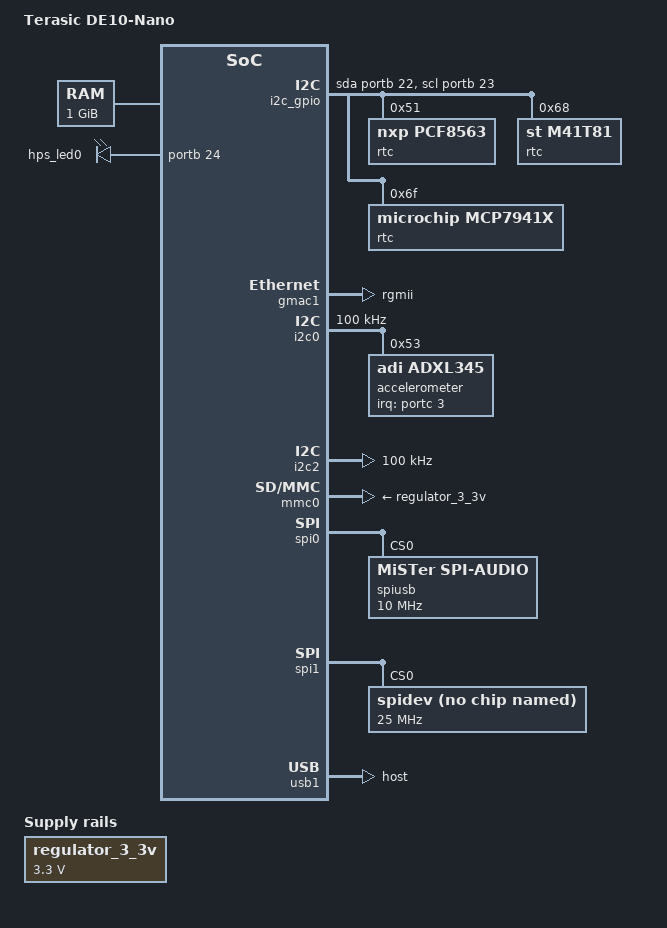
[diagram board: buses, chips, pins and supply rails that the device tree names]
// SPDX-License-Identifier: GPL-2.0+
/*
 * Copyright (C) 2017, Intel Corporation
 *
 * based on socfpga_cyclone5_de0_nano_soc.dts
 *
 * MiSTer additions (2026): the DE10-Nano as used by the MiSTer project.
 * Every value here was diffed against the DTB decompiled from a running stock
 * MiSTer (docs/stock-inventory/stock.dts); the node-by-node comparison and the
 * reason for every divergence live in docs/dts-comparison.md.
 */
/dts-v1/;

#include "socfpga_cyclone5.dtsi"
#include <dt-bindings/interrupt-controller/irq.h>
#include <dt-bindings/gpio/gpio.h>

/ {
	model = "Terasic DE10-Nano";
	compatible = "terasic,de10-nano", "altr,socfpga-cyclone5", "altr,socfpga";

	aliases {
		/*
		 * Load-bearing: U-Boot's fdt_fixup_ethernet() walks /aliases
		 * looking for "ethernetN" and writes $ethaddr into the node it
		 * points at (u-boot common/fdt_support.c:470, called from
		 * image_setup_libfdt() common/image-fdt.c:497).  Without this
		 * alias the MAC address is never injected.
		 */
		ethernet0 = &gmac1;
	};

	chosen {
		/* Overwritten by U-Boot's fdt_chosen() from $bootargs. */
		bootargs = "earlyprintk";
		stdout-path = "serial0:115200n8";
	};

	memory@0 {
		/* 1 GiB */
		device_type = "memory";
		reg = <0x0 0x40000000>;
	};

	soc {
		fpga: bus@ff200000 {
			compatible = "simple-bus";
			reg = <0xff200000 0x00200000>;
			ranges = <0x00000000 0xff200000 0x00200000>;
			#address-cells = <1>;
			#size-cells = <1>;

			/*
			 * Here the devices will appear if an FPGA image is
			 * loaded. Their description is expected to be added
			 * using a device tree overlay that matches the image.
			 */
		};
	};

	regulator_3_3v: 3-3-v-regulator {
		compatible = "regulator-fixed";
		regulator-name = "3.3V";
		regulator-min-microvolt = <3300000>;
		regulator-max-microvolt = <3300000>;
	};

	leds {
		compatible = "gpio-leds";

		/*
		 * ABI: the LED must be named "hps_led0" (the class device name
		 * comes from "label").  Main_MiSTer polls
		 * /sys/class/leds/hps_led0/brightness_hw_changed.
		 */
		hps0 {
			label = "hps_led0";
			gpios = <&portb 24 GPIO_ACTIVE_HIGH>;
			linux,default-trigger = "mmc0";
		};
	};

	/*
	 * Bit-banged I2C for the (optional) MiSTer RTC add-on board.
	 * This is the THIRD and LAST i2c adapter: with i2c0 and i2c2 it gives
	 * exactly three adapters -> /dev/i2c-0, /dev/i2c-1, /dev/i2c-2.
	 * Main_MiSTer never scans past /dev/i2c-2 (smbus.cpp:214), so no
	 * fourth adapter may ever be added here.  See docs/abi-contract.md.
	 */
	i2c_gpio {
		compatible = "i2c-gpio";
		#address-cells = <1>;
		#size-cells = <0>;
		gpios = <&portb 22 (GPIO_ACTIVE_HIGH | GPIO_OPEN_DRAIN)>, /* SDA */
			<&portb 23 (GPIO_ACTIVE_HIGH | GPIO_OPEN_DRAIN)>; /* SCL */
		i2c-gpio,delay-us = <2>;

		/* Only one of these is populated on any given add-on board. */
		rtc@51 {
			compatible = "nxp,pcf8563";
			reg = <0x51>;
		};

		rtc@68 {
			compatible = "st,m41t81";
			reg = <0x68>;
		};

		rtc@6f {
			compatible = "microchip,mcp7941x";
			reg = <0x6f>;
		};
	};

	/*
	 * MiSTer framebuffer: a window into FPGA-side memory.  The driver
	 * (drivers/video/fbdev/MiSTer_fb.c, patch 0001) matches on the
	 * compatible string, not on the node name.  Stock names this node
	 * "MiSTer_fb" with no unit address; we add "@22000000" to silence
	 * dtc's unit_address_vs_reg check.  The platform device is named
	 * "22000000.MiSTer_fb" either way -- of_device_make_bus_id() builds
	 * it from the translated reg plus %pOFn, which strips the unit
	 * address (drivers/of/device.c:298-305).
	 * IRQ 40 is GIC SPI 40 == FPGA-to-HPS interrupt f2h_irq0.
	 */
	MiSTer_fb@22000000 {
		compatible = "MiSTer_fb";
		reg = <0x22000000 0x800000>;
		interrupt-parent = <&intc>;
		interrupts = <0 40 IRQ_TYPE_EDGE_RISING>;
	};
};

&gmac1 {
	/* Uses a KSZ9031RNX phy */
	status = "okay";

	/*
	 * "rgmii" (not mainline's "rgmii-id"): the delay is produced by the
	 * explicit skew values below, exactly as stock does.  There is no
	 * mdio/phy child node, so micrel's ksz9031_config_init() walks up the
	 * device parents to find an of_node and reads the skews from THIS node
	 * (drivers/net/phy/micrel.c).
	 */
	phy-mode = "rgmii";

	txd0-skew-ps = <0>;	/* -420ps */
	txd1-skew-ps = <0>;	/* -420ps */
	txd2-skew-ps = <0>;	/* -420ps */
	txd3-skew-ps = <0>;	/* -420ps */
	rxd0-skew-ps = <420>;	/* 0ps */
	rxd1-skew-ps = <420>;	/* 0ps */
	rxd2-skew-ps = <420>;	/* 0ps */
	rxd3-skew-ps = <420>;	/* 0ps */
	txen-skew-ps = <0>;	/* -420ps */
	txc-skew-ps = <1860>;	/* 960ps */
	rxdv-skew-ps = <420>;	/* 0ps */
	rxc-skew-ps = <1680>;	/* 780ps */

	max-frame-size = <3800>;
};

&gpio0 {
	status = "okay";
};

&gpio1 {
	status = "okay";
};

&gpio2 {
	status = "okay";
};

/* i2c adapter #1 of 3 (see i2c_gpio above). */
&i2c0 {
	clock-frequency = <100000>;
	status = "okay";

	accelerometer@53 {
		compatible = "adi,adxl345";
		reg = <0x53>;
		/* HPS_GSENSOR_INT is routed to UART0_RX/CAN0_RX/SPIM0_SS1/HPS_GPIO61 */
		interrupt-parent = <&portc>;
		interrupts = <3 IRQ_TYPE_LEVEL_HIGH>;
		interrupt-names = "INT1";
	};
};

/* i2c adapter #2 of 3.  Carries the ADV7513 HDMI transmitter on some boards;
 * Main_MiSTer probes 0x39 across /dev/i2c-0..2 at runtime (video.cpp:1448).
 */
&i2c2 {
	clock-frequency = <100000>;
	status = "okay";
};

&mmc0 {
	/* micro SD card socket J11 */
	vmmc-supply = <&regulator_3_3v>;
	vqmmc-supply = <&regulator_3_3v>;
	status = "okay";
};

/* SPI bus 0 -> the MiSTer audio link (sound/drivers/MiSTer-audio-spi.c). */
&spi0 {
	status = "okay";

	spiusb@0 {
		compatible = "MiSTer,spi-audio";
		reg = <0>;
		spi-max-frequency = <10000000>;
		spi-cpha;
		spi-cpol;
	};
};

/*
 * SPI bus 1 -> userspace via spidev.  Main_MiSTer opens /dev/spidev1.0
 * (brightness.cpp) to talk to the add-on hub.  Stock used compatible =
 * "altspi", which only worked because the fork added that string to
 * spidev_dt_ids[].  We use "rohm,dh2228fv", which mainline's spidev already
 * accepts (drivers/spi/spidev.c), so no kernel patch is needed.
 */
&spi1 {
	status = "okay";

	spidev@0 {
		compatible = "rohm,dh2228fv";
		reg = <0>;
		spi-max-frequency = <25000000>;
	};
};

&uart0 {
	/*
	 * Accessible via USB (FT232R) on Mini-USB plug J4
	 * RX = TRACE_D0/SPIS0_CLK/UART0_RX/HPS_GPIO49
	 * TX = TRACE_D1/SPIS0_MOSI/UART0_TX/HPS_GPIO50
	 * no handshaking lines
	 */
	clock-frequency = <100000000>;

	/* DW UART DMA is unreliable on this SoC; stock deletes it too. */
	/delete-property/ dmas;
	/delete-property/ dma-names;
};

&uart1 {
	/delete-property/ dmas;
	/delete-property/ dma-names;
};

&usb1 {
	dr_mode = "host";
	disable-over-current;
	status = "okay";
};

&fpga_bridge0 {
	status = "okay";
};

&fpga_bridge1 {
	status = "okay";
};

&fpga_bridge2 {
	status = "okay";
};
